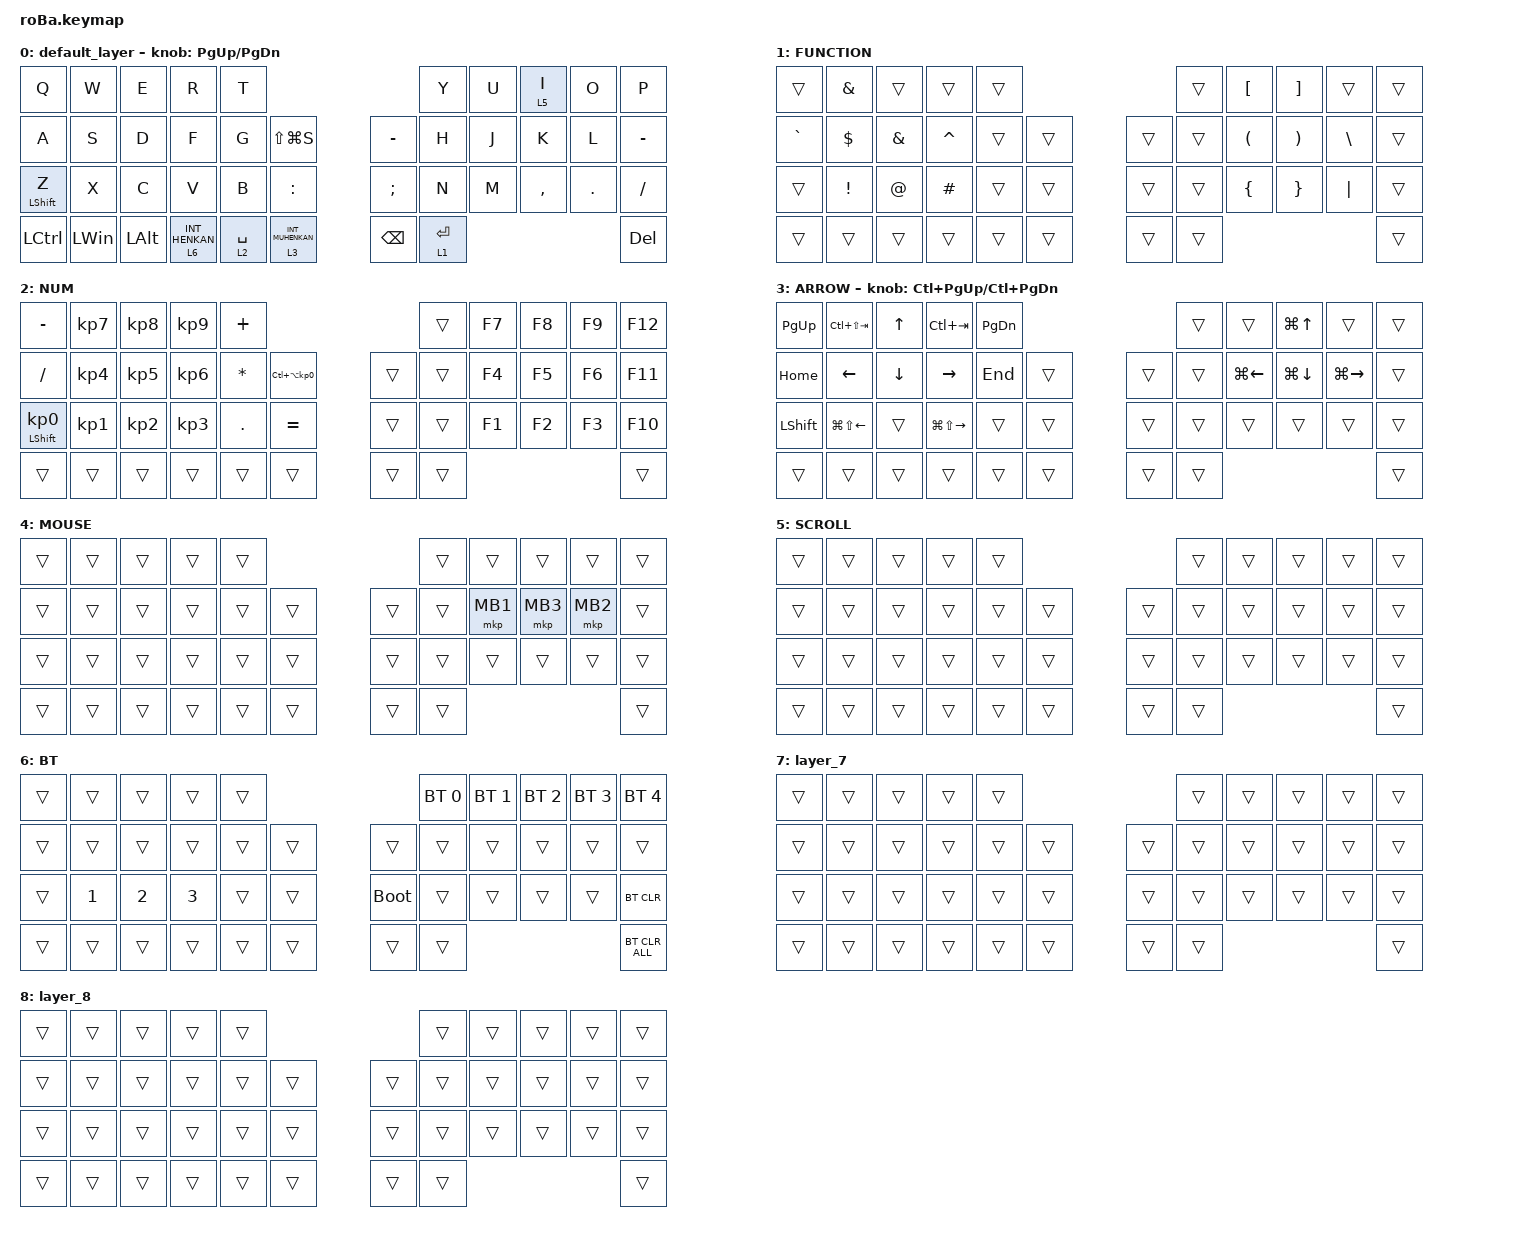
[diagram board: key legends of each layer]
#include <behaviors.dtsi>
#include <dt-bindings/zmk/bt.h>
#include <dt-bindings/zmk/keys.h>
#include <dt-bindings/zmk/pointing.h>

&mt {
    flavor = "balanced";
    quick-tap-ms = <0>;
};

&trackball {
    automouse-layer = <4>;
    scroll-layers = <5>;

    arrows {
        layers = <3>;
        bindings =
            <&kp RIGHT_ARROW>,
            <&kp LEFT_ARROW>,
            <&kp UP_ARROW>,
            <&kp DOWN_ARROW>;

        tick = <10>;
        wait-ms = <5>;
        tap-ms = <5>;
    };
};

/ {
    combos {
        compatible = "zmk,combos";

        tab {
            bindings = <&kp TAB>;
            key-positions = <11 12>;
        };

        shift_tab {
            bindings = <&kp LS(TAB)>;
            key-positions = <12 13>;
        };

        muhennkann {
            bindings = <&to_layer_0 INT_MUHENKAN>;
            key-positions = <11 10>;
        };

        double_quotation {
            bindings = <&kp DOUBLE_QUOTES>;
            key-positions = <20 21>;
        };

        eq {
            bindings = <&kp EQUAL>;
            key-positions = <24 25>;
        };

        a {
            bindings = <&kp A>;
            key-positions = <18 19 20>;
        };

        tab {
            bindings = <&kp ESCAPE>;
            key-positions = <0 1>;
        };
    };

    macros {
        to_layer_0: to_layer_0 {
            compatible = "zmk,behavior-macro-one-param";
            #binding-cells = <1>;
            bindings = <&to 0 &macro_param_1to1 &kp MACRO_PLACEHOLDER>;
            label = "TO_LAYER_0";
        };
    };

    behaviors {
        lt_to_layer_0: lt_to_layer_0 {
            compatible = "zmk,behavior-hold-tap";
            label = "LAYER_TAP_TO_0";
            bindings = <&mo>, <&to_layer_0>;

            #binding-cells = <2>;
            tapping-term-ms = <200>;
        };
    };

    keymap {
        compatible = "zmk,keymap";

        default_layer {
            bindings = <
&kp Q             &kp W         &kp E         &kp R                        &kp T                                                          &kp Y        &kp U  &lt 5 I    &kp O    &kp P
&kp A             &kp S         &kp D         &kp F                        &kp G        &kp LS(LG(S))                      &kp MINUS      &kp H        &kp J  &kp K      &kp L    &kp MINUS
&mt LEFT_SHIFT Z  &kp X         &kp C         &kp V                        &kp B        &kp COLON                          &kp SEMICOLON  &kp N        &kp M  &kp COMMA  &kp DOT  &kp SLASH
&kp LCTRL         &kp LEFT_WIN  &kp LEFT_ALT  &lt_to_layer_0 6 INT_HENKAN  &lt 2 SPACE  &lt_to_layer_0 3 INT_MUHENKAN      &kp BACKSPACE  &lt 1 ENTER                             &kp DEL
            >;

            sensor-bindings = <&inc_dec_kp PG_UP PAGE_DOWN>;
        };

        FUNCTION {
            bindings = <
&trans     &kp AMPERSAND    &trans         &trans     &trans                      &trans  &kp LEFT_BRACKET      &kp RIGHT_BRACKET      &trans         &trans
&kp GRAVE  &kp DOLLAR       &kp AMPERSAND  &kp CARET  &trans  &trans      &trans  &trans  &kp LEFT_PARENTHESIS  &kp RIGHT_PARENTHESIS  &kp BACKSLASH  &trans
&trans     &kp EXCLAMATION  &kp AT_SIGN    &kp HASH   &trans  &trans      &trans  &trans  &kp LBRC              &kp RBRC               &kp PIPE       &trans
&trans     &trans           &trans         &trans     &trans  &trans      &trans  &trans                                                              &trans
            >;
        };

        NUM {
            bindings = <
&kp MINUS                   &kp KP_NUMBER_7  &kp KP_NUMBER_8  &kp KP_NUMBER_9  &kp PLUS                                           &trans  &kp F7  &kp F8  &kp F9  &kp F12
&kp SLASH                   &kp KP_NUMBER_4  &kp KP_NUMBER_5  &kp KP_NUMBER_6  &kp ASTERISK  &kp LC(LA(KP_NUMBER_0))      &trans  &trans  &kp F4  &kp F5  &kp F6  &kp F11
&mt LEFT_SHIFT KP_NUMBER_0  &kp KP_NUMBER_1  &kp KP_NUMBER_2  &kp KP_NUMBER_3  &kp PERIOD    &kp EQUAL                    &trans  &trans  &kp F1  &kp F2  &kp F3  &kp F10
&trans                      &trans           &trans           &trans           &trans        &trans                       &trans  &trans                          &trans
            >;
        };

        ARROW {
            bindings = <
&kp PG_UP       &kp LC(LS(TAB))         &kp UP_ARROW    &kp LC(TAB)              &kp PG_DN                      &trans  &trans              &kp LG(UP_ARROW)    &trans               &trans
&kp HOME        &kp LEFT_ARROW          &kp DOWN_ARROW  &kp RIGHT_ARROW          &kp END    &trans      &trans  &trans  &kp LG(LEFT_ARROW)  &kp LG(DOWN_ARROW)  &kp LG(RIGHT_ARROW)  &trans
&kp LEFT_SHIFT  &kp LG(LS(LEFT_ARROW))  &trans          &kp LG(LS(RIGHT_ARROW))  &trans     &trans      &trans  &trans  &trans              &trans              &trans               &trans
&trans          &trans                  &trans          &trans                   &trans     &trans      &trans  &trans                                                               &trans
            >;

            sensor-bindings = <&inc_dec_kp LC(PAGE_UP) LC(PAGE_DOWN)>;
        };

        MOUSE {
            bindings = <
&trans  &trans  &trans  &trans  &trans                      &trans  &trans    &trans    &trans    &trans
&trans  &trans  &trans  &trans  &trans  &trans      &trans  &trans  &mkp MB1  &mkp MB3  &mkp MB2  &trans
&trans  &trans  &trans  &trans  &trans  &trans      &trans  &trans  &trans    &trans    &trans    &trans
&trans  &trans  &trans  &trans  &trans  &trans      &trans  &trans                                &trans
            >;
        };

        SCROLL {
            bindings = <
&trans  &trans  &trans  &trans  &trans                      &trans  &trans  &trans  &trans  &trans
&trans  &trans  &trans  &trans  &trans  &trans      &trans  &trans  &trans  &trans  &trans  &trans
&trans  &trans  &trans  &trans  &trans  &trans      &trans  &trans  &trans  &trans  &trans  &trans
&trans  &trans  &trans  &trans  &trans  &trans      &trans  &trans                          &trans
            >;
        };

        BT {
            bindings = <
&trans  &trans        &trans        &trans        &trans                           &bt BT_SEL 0  &bt BT_SEL 1  &bt BT_SEL 2  &bt BT_SEL 3  &bt BT_SEL 4
&trans  &trans        &trans        &trans        &trans  &trans      &trans       &trans        &trans        &trans        &trans        &trans
&trans  &kp NUMBER_1  &kp NUMBER_2  &kp NUMBER_3  &trans  &trans      &bootloader  &trans        &trans        &trans        &trans        &bt BT_CLR
&trans  &trans        &trans        &trans        &trans  &trans      &trans       &trans                                                  &bt BT_CLR_ALL
            >;
        };

        layer_7 {
            bindings = <
&trans  &trans  &trans  &trans  &trans                      &trans  &trans  &trans  &trans  &trans
&trans  &trans  &trans  &trans  &trans  &trans      &trans  &trans  &trans  &trans  &trans  &trans
&trans  &trans  &trans  &trans  &trans  &trans      &trans  &trans  &trans  &trans  &trans  &trans
&trans  &trans  &trans  &trans  &trans  &trans      &trans  &trans                          &trans
            >;
        };

        layer_8 {
            bindings = <
&trans  &trans  &trans  &trans  &trans                      &trans  &trans  &trans  &trans  &trans
&trans  &trans  &trans  &trans  &trans  &trans      &trans  &trans  &trans  &trans  &trans  &trans
&trans  &trans  &trans  &trans  &trans  &trans      &trans  &trans  &trans  &trans  &trans  &trans
&trans  &trans  &trans  &trans  &trans  &trans      &trans  &trans                          &trans
            >;
        };
    };
};
